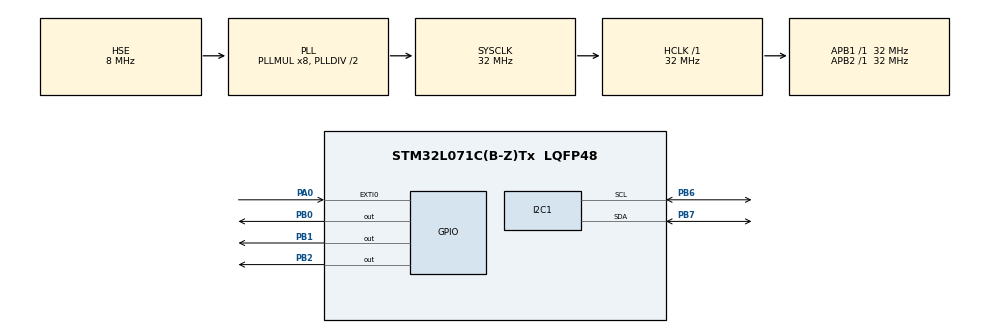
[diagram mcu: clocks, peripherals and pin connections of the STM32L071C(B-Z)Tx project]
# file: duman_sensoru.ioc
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I2C1.Timing=0x00707CBB
Mcu.Family=STM32L0
Mcu.Name=STM32L071C(B-Z)Tx
Mcu.Package=LQFP48
NVIC.EXTI0_1_IRQn=true\:0\:0\:false\:false\:true\:true\:true\:true
NVIC.I2C1_IRQn=true\:0\:0\:false\:false\:true\:true\:true\:true
PA0.Signal=GPXTI0
PB0.Signal=GPIO_Output
PB1.Signal=GPIO_Output
PB2.Signal=GPIO_Output
PB6.Mode=I2C
PB6.Signal=I2C1_SCL
PB7.Mode=I2C
PB7.Signal=I2C1_SDA
PH0-OSC_IN.Mode=HSE-External-Oscillator
PH0-OSC_IN.Signal=RCC_OSC_IN
PH1-OSC_OUT.Mode=HSE-External-Oscillator
PH1-OSC_OUT.Signal=RCC_OSC_OUT
ProjectManager.HeapSize=0x200
ProjectManager.StackSize=0x400
ProjectManager.TargetToolchain=STM32CubeIDE
RCC.AHBFreq_Value=32000000
RCC.APB1Freq_Value=32000000
RCC.APB1TimFreq_Value=32000000
RCC.APB2Freq_Value=32000000
RCC.APB2TimFreq_Value=32000000
RCC.HCLKFreq_Value=32000000
RCC.HSE_VALUE=8000000
RCC.HSI16_VALUE=16000000
RCC.HSI_VALUE=16000000
RCC.LSE_VALUE=32768
RCC.MSI_VALUE=2097000
RCC.PLLMUL=RCC_PLLMUL_8
RCC.PLLSourceVirtual=RCC_PLLSOURCE_HSE
RCC.SYSCLKFreq_VALUE=32000000
RCC.SYSCLKSource=RCC_SYSCLKSOURCE_PLLCLK
RCC.VCOOutputFreq_Value=64000000
board=custom

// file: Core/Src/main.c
/* USER CODE BEGIN Header */
/**
  ******************************************************************************
  * @file           : main.c
  * @brief          : Main program body
  ******************************************************************************
  * @attention
  *
  * Copyright (c) 2025 STMicroelectronics.
  * All rights reserved.
  *
  * This software is licensed under terms that can be found in the LICENSE file
  * in the root directory of this software component.
  * If no LICENSE file comes with this software, it is provided AS-IS.
  *
  ******************************************************************************
  */
/* USER CODE END Header */
#include "main.h"

/* USER CODE BEGIN PD */

#define ADPD188BI_ADDR (0x64 << 1)

#define LED1_PIN  GPIO_PIN_0
#define LED2_PIN  GPIO_PIN_1
#define LED3_PIN  GPIO_PIN_2
#define LED_PORT  GPIOB

/* USER CODE END PD */

I2C_HandleTypeDef hi2c1;

/* USER CODE BEGIN PV */

uint8_t smoke_data_ready = 0;

/* USER CODE END PV */

void SystemClock_Config(void);
static void MX_GPIO_Init(void);
static void MX_I2C1_Init(void);
/* USER CODE BEGIN PFP */

void ADPD188BI_WriteReg(uint16_t reg, uint16_t val);
uint16_t ADPD188BI_ReadReg(uint16_t reg);
void ADPD188BI_Init(void);
uint16_t ADPD188BI_Read_Smoke(void);
void Enter_Stop_Mode(void);

/* USER CODE END PFP */

int main(void)
{

  /* MCU Configuration--------------------------------------------------------*/

  /* Reset of all peripherals, Initializes the Flash interface and the Systick. */
  HAL_Init();

  /* Configure the system clock */
  SystemClock_Config();

  /* Initialize all configured peripherals */
  MX_GPIO_Init();
  MX_I2C1_Init();
  /* USER CODE BEGIN 2 */
  ADPD188BI_Init();

  /* USER CODE END 2 */

  /* Infinite loop */
  while (1)
  {

    /* USER CODE BEGIN 3 */

	  //duman sensörü

	  Enter_Stop_Mode();

	  if (smoke_data_ready)
	  {
		  smoke_data_ready = 0;

	      uint16_t value = ADPD188BI_Read_Smoke();

	      HAL_GPIO_WritePin(LED_PORT, LED1_PIN | LED2_PIN | LED3_PIN, GPIO_PIN_RESET);

	      if (value > 3000)
	         {
	             HAL_GPIO_WritePin(LED_PORT, LED3_PIN, GPIO_PIN_SET);
	         }
	         else if (value > 2000)
	         {
	             HAL_GPIO_WritePin(LED_PORT, LED2_PIN, GPIO_PIN_SET);
	         }
	         else if (value > 1000)
	         {
	             HAL_GPIO_WritePin(LED_PORT, LED1_PIN, GPIO_PIN_SET);
	         }
	  }

  }
  /* USER CODE END 3 */
}

void SystemClock_Config(void)
{
  RCC_OscInitTypeDef RCC_OscInitStruct = {0};
  RCC_ClkInitTypeDef RCC_ClkInitStruct = {0};
  RCC_PeriphCLKInitTypeDef PeriphClkInit = {0};

  /** Configure the main internal regulator output voltage
  */
  __HAL_PWR_VOLTAGESCALING_CONFIG(PWR_REGULATOR_VOLTAGE_SCALE1);

  /** Initializes the RCC Oscillators according to the specified parameters
  * in the RCC_OscInitTypeDef structure.
  */
  RCC_OscInitStruct.OscillatorType = RCC_OSCILLATORTYPE_HSE;
  RCC_OscInitStruct.HSEState = RCC_HSE_ON;
  RCC_OscInitStruct.PLL.PLLState = RCC_PLL_ON;
  RCC_OscInitStruct.PLL.PLLSource = RCC_PLLSOURCE_HSE;
  RCC_OscInitStruct.PLL.PLLMUL = RCC_PLLMUL_8;
  RCC_OscInitStruct.PLL.PLLDIV = RCC_PLLDIV_2;
  if (HAL_RCC_OscConfig(&RCC_OscInitStruct) != HAL_OK)
  {
    Error_Handler();
  }

  /** Initializes the CPU, AHB and APB buses clocks
  */
  RCC_ClkInitStruct.ClockType = RCC_CLOCKTYPE_HCLK|RCC_CLOCKTYPE_SYSCLK
                              |RCC_CLOCKTYPE_PCLK1|RCC_CLOCKTYPE_PCLK2;
  RCC_ClkInitStruct.SYSCLKSource = RCC_SYSCLKSOURCE_PLLCLK;
  RCC_ClkInitStruct.AHBCLKDivider = RCC_SYSCLK_DIV1;
  RCC_ClkInitStruct.APB1CLKDivider = RCC_HCLK_DIV1;
  RCC_ClkInitStruct.APB2CLKDivider = RCC_HCLK_DIV1;

  if (HAL_RCC_ClockConfig(&RCC_ClkInitStruct, FLASH_LATENCY_1) != HAL_OK)
  {
    Error_Handler();
  }
  PeriphClkInit.PeriphClockSelection = RCC_PERIPHCLK_I2C1;
  PeriphClkInit.I2c1ClockSelection = RCC_I2C1CLKSOURCE_PCLK1;
  if (HAL_RCCEx_PeriphCLKConfig(&PeriphClkInit) != HAL_OK)
  {
    Error_Handler();
  }
}

static void MX_I2C1_Init(void)
{

  hi2c1.Instance = I2C1;
  hi2c1.Init.Timing = 0x00707CBB;
  hi2c1.Init.OwnAddress1 = 0;
  hi2c1.Init.AddressingMode = I2C_ADDRESSINGMODE_7BIT;
  hi2c1.Init.DualAddressMode = I2C_DUALADDRESS_DISABLE;
  hi2c1.Init.OwnAddress2 = 0;
  hi2c1.Init.OwnAddress2Masks = I2C_OA2_NOMASK;
  hi2c1.Init.GeneralCallMode = I2C_GENERALCALL_DISABLE;
  hi2c1.Init.NoStretchMode = I2C_NOSTRETCH_DISABLE;
  if (HAL_I2C_Init(&hi2c1) != HAL_OK)
  {
    Error_Handler();
  }

  /** Configure Analogue filter
  */
  if (HAL_I2CEx_ConfigAnalogFilter(&hi2c1, I2C_ANALOGFILTER_ENABLE) != HAL_OK)
  {
    Error_Handler();
  }

  /** Configure Digital filter
  */
  if (HAL_I2CEx_ConfigDigitalFilter(&hi2c1, 0) != HAL_OK)
  {
    Error_Handler();
  }

}

static void MX_GPIO_Init(void)
{
  GPIO_InitTypeDef GPIO_InitStruct = {0};

  /* GPIO Ports Clock Enable */
  __HAL_RCC_GPIOH_CLK_ENABLE();
  __HAL_RCC_GPIOA_CLK_ENABLE();
  __HAL_RCC_GPIOB_CLK_ENABLE();

  /*Configure GPIO pin Output Level */
  HAL_GPIO_WritePin(GPIOB, GPIO_PIN_0|GPIO_PIN_1|GPIO_PIN_2, GPIO_PIN_RESET);

  /*Configure GPIO pin : PA0 */
  GPIO_InitStruct.Pin = GPIO_PIN_0;
  GPIO_InitStruct.Mode = GPIO_MODE_IT_RISING;
  GPIO_InitStruct.Pull = GPIO_NOPULL;
  HAL_GPIO_Init(GPIOA, &GPIO_InitStruct);

  /*Configure GPIO pins : PB0 PB1 PB2 */
  GPIO_InitStruct.Pin = GPIO_PIN_0|GPIO_PIN_1|GPIO_PIN_2;
  GPIO_InitStruct.Mode = GPIO_MODE_OUTPUT_PP;
  GPIO_InitStruct.Pull = GPIO_NOPULL;
  GPIO_InitStruct.Speed = GPIO_SPEED_FREQ_LOW;
  HAL_GPIO_Init(GPIOB, &GPIO_InitStruct);

  /* EXTI interrupt init*/
  HAL_NVIC_SetPriority(EXTI0_1_IRQn, 0, 0);
  HAL_NVIC_EnableIRQ(EXTI0_1_IRQn);

}

/* USER CODE BEGIN 4 */
void ADPD188BI_WriteReg(uint16_t reg, uint16_t val)
{
    uint8_t data[4];
    data[0] = reg >> 8;
    data[1] = reg & 0xFF;
    data[2] = val >> 8;
    data[3] = val & 0xFF;
    HAL_I2C_Master_Transmit(&hi2c1, ADPD188BI_ADDR, data, 4, HAL_MAX_DELAY);
}

uint16_t ADPD188BI_ReadReg(uint16_t reg)
{
    uint8_t addr[2] = {reg >> 8, reg & 0xFF};
    uint8_t val[2] = {0};
    HAL_I2C_Master_Transmit(&hi2c1, ADPD188BI_ADDR, addr, 2, HAL_MAX_DELAY);
    HAL_I2C_Master_Receive(&hi2c1, ADPD188BI_ADDR, val, 2, HAL_MAX_DELAY);
    return (val[0] << 8) | val[1];
}

void ADPD188BI_Init(void)
{
    // 1. Reset
    ADPD188BI_WriteReg(0x0000, 0x0002);
    HAL_Delay(10);

    // 2. Clear interrupt
    ADPD188BI_WriteReg(0x0001, 0x8000);

    // 3. LED Konfigürasyonu: internal IR LED (LED1)
    ADPD188BI_WriteReg(0x010F, 0x0200); // LED_SELECT = LED1
    ADPD188BI_WriteReg(0x0110, 0x0020); // LED1 current = orta seviye

    // 4. Input konfigürasyonu: sadece IR kullan
    ADPD188BI_WriteReg(0x0111, 0x0001); // Input: photodiode 1

    // 5. Slot A Konfigürasyonu (IR kullan)
    ADPD188BI_WriteReg(0x0112, 0x0001); // Enable Slot A
    ADPD188BI_WriteReg(0x0113, 0x0001); // Channel1 = IR

    // 6. Decimation factor (örnekleme azaltma)
    ADPD188BI_WriteReg(0x0103, 0x0010);

    // 7. Sampling rate
    ADPD188BI_WriteReg(0x0104, 0x0040); // 50Hz

    // 8. FIFO konfigürasyonu
    ADPD188BI_WriteReg(0x0009, 0x0001); // FIFO config: enable
    ADPD188BI_WriteReg(0x000A, 0x0001); // Threshold: 1 sample

    // 9. Interrupt enable
    ADPD188BI_WriteReg(0x0001, 0x0002); // Data Ready interrupt enable

    // 10. Modu başlat
    ADPD188BI_WriteReg(0x0006, 0x0001); // Mode: Go
}

uint16_t ADPD188BI_Read_Smoke(void)
{
    return ADPD188BI_ReadReg(0x0064); //fifo
}

void Enter_Stop_Mode(void)
{
  HAL_SuspendTick();
  HAL_PWR_EnterSTOPMode(PWR_LOWPOWERREGULATOR_ON, PWR_STOPENTRY_WFI);
  HAL_ResumeTick();
  SystemClock_Config();
}

/* USER CODE END 4 */

void Error_Handler(void)
{
  __disable_irq();
  while (1)
  {
  }
}
